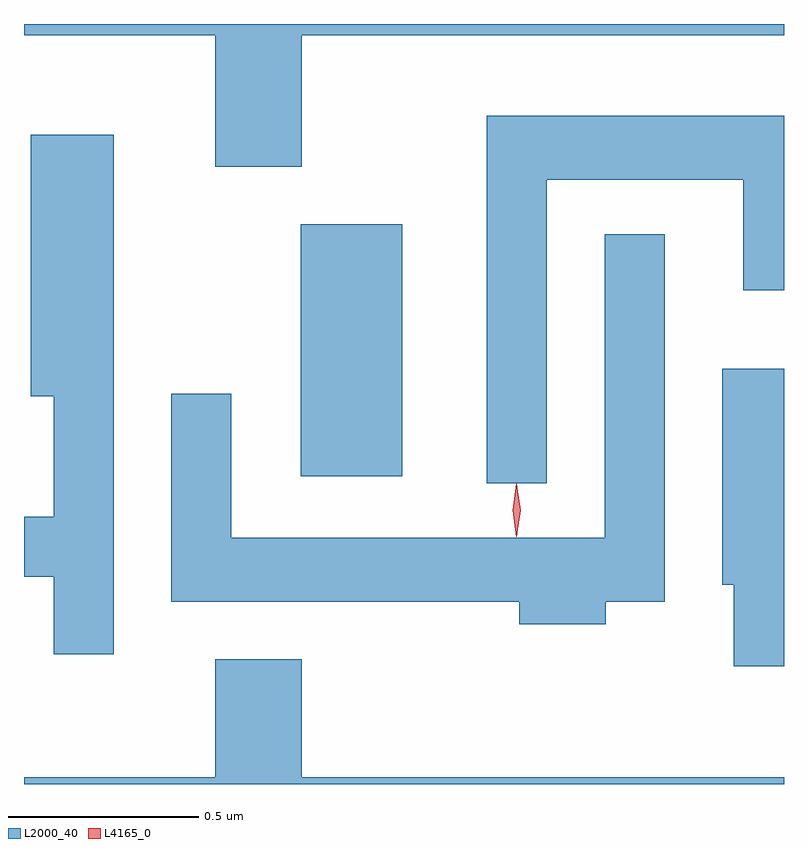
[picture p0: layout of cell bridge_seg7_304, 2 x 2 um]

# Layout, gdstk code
import gdstk
lib = gdstk.Library(unit=1e-6, precision=1e-09)
def R(c, l, rs):  # rectangles x0, y0, x1, y1
    for r in rs: c.add(gdstk.rectangle(r[:2], r[2:], *l))
def P(c, l, *ps):  # polygons
    for p in ps: c.add(gdstk.Polygon(p, *l))
L2000_40 = (2000, 40)
L4165_0 = (4165, 0)

bridge_seg7_304 = lib.new_cell('bridge_seg7_304')
R(bridge_seg7_304, L2000_40, [(1341.176,1788.636,1341.444,1789.299)])
P(bridge_seg7_304, L2000_40, [(1341.179,1789.796),(1342.448,1789.796),(1342.448,1789.826),(1340.448,1789.826),(1340.448,1789.796),(1340.951,1789.796),(1340.951,1789.451),(1341.179,1789.451)],
  [(1341.824,1789.416),(1342.341,1789.416),(1342.341,1789.126),(1342.448,1789.126),(1342.448,1789.584),(1341.666,1789.584),(1341.666,1788.618),(1341.824,1788.618)],
  [(1340.684,1789.534),(1340.466,1789.534),(1340.466,1788.846),(1340.526,1788.846),(1340.526,1788.529),(1340.448,1788.529),(1340.448,1788.371),(1340.526,1788.371),(1340.526,1788.168),(1340.684,1788.168)],
  [(1341.979,1788.306),(1342.134,1788.306),(1342.134,1789.273),(1341.976,1789.273),(1341.976,1788.474),(1340.994,1788.474),(1340.994,1788.853),(1340.836,1788.853),(1340.836,1788.306),(1341.751,1788.306),(1341.751,1788.246),(1341.979,1788.246)],
  [(1342.448,1788.919),(1342.286,1788.919),(1342.286,1788.351),(1342.316,1788.351),(1342.316,1788.136),(1342.448,1788.136)],
  [(1342.448,1787.844),(1341.179,1787.844),(1341.179,1788.154),(1340.951,1788.154),(1340.951,1787.844),(1340.448,1787.844),(1340.448,1787.826),(1342.448,1787.826)])
P(bridge_seg7_304, L4165_0, [(1341.745,1788.479),(1341.744,1788.48),(1341.735,1788.546),(1341.744,1788.612),(1341.745,1788.613),(1341.745,1788.612),(1341.755,1788.546),(1341.745,1788.48)],
  [(1341.744,1788.477),(1341.744,1788.477),(1341.734,1788.546),(1341.744,1788.616),(1341.744,1788.616),(1341.745,1788.616),(1341.754,1788.546),(1341.745,1788.477)])

lib.write_gds('bridge_seg7_304.gds')
